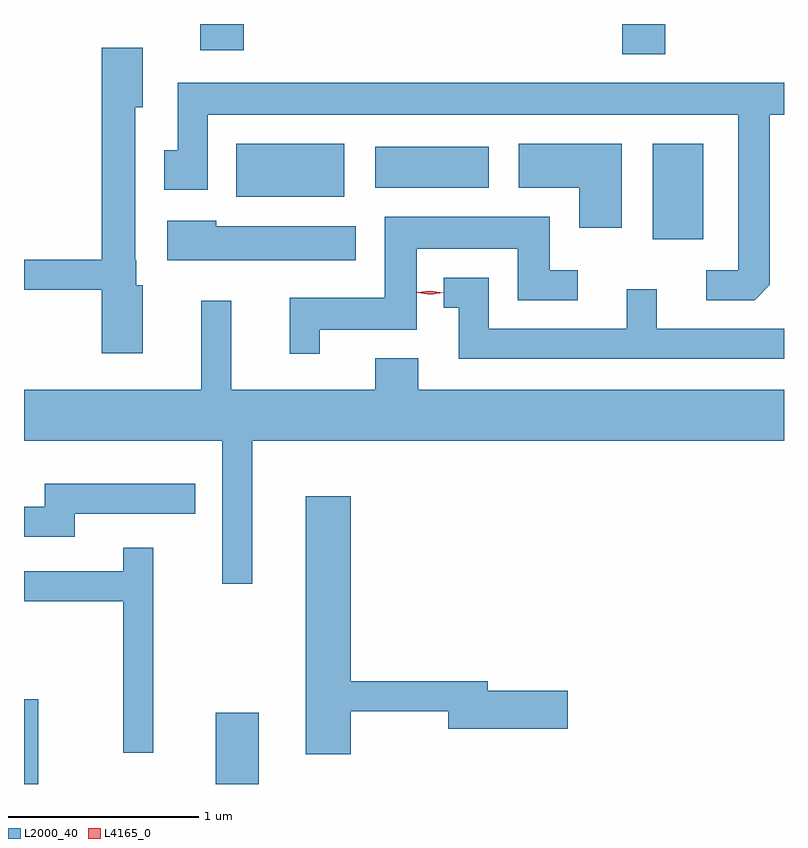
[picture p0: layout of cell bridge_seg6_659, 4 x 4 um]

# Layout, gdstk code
import gdstk
lib = gdstk.Library(unit=1e-6, precision=1e-09)
def R(c, l, rs):  # rectangles x0, y0, x1, y1
    for r in rs: c.add(gdstk.rectangle(r[:2], r[2:], *l))
def P(c, l, *ps):  # polygons
    for p in ps: c.add(gdstk.Polygon(p, *l))
L2000_40 = (2000, 40)
L4165_0 = (4165, 0)

bridge_seg6_659 = lib.new_cell('bridge_seg6_659')
R(bridge_seg6_659, L2000_40, [(305.533,1548.229,305.609,1548.674), (306.541,1548.229,306.769,1548.604), (308.841,1551.096,309.109,1551.599), (306.651,1551.321,307.219,1551.599), (307.381,1551.366,307.979,1551.584), (308.681,1552.071,308.909,1552.229), (306.461,1552.091,306.689,1552.229)])
P(bridge_seg6_659, L2000_40, [(306.159,1550.854),(306.124,1550.854),(306.124,1550.985),(306.119,1550.985),(306.119,1551.791),(306.159,1551.791),(306.159,1552.104),(305.941,1552.104),(305.941,1550.989),(305.533,1550.989),(305.533,1550.831),(305.941,1550.831),(305.941,1550.496),(306.159,1550.496)],
  [(309.459,1550.857),(309.459,1551.751),(309.533,1551.751),(309.533,1551.919),(306.341,1551.919),(306.341,1551.564),(306.271,1551.564),(306.271,1551.356),(306.499,1551.356),(306.499,1551.751),(309.291,1551.751),(309.291,1550.934),(309.123,1550.934),(309.123,1550.776),(309.379,1550.776)],
  [(308.679,1551.599),(308.136,1551.599),(308.136,1551.366),(308.456,1551.366),(308.456,1551.156),(308.679,1551.156)],
  [(307.089,1550.621),(307.599,1550.621),(307.599,1551.046),(308.131,1551.046),(308.131,1550.776),(308.448,1550.776),(308.448,1550.934),(308.299,1550.934),(308.299,1551.214),(307.431,1551.214),(307.431,1550.789),(306.931,1550.789),(306.931,1550.493),(307.089,1550.493)],
  [(307.279,1551.164),(306.544,1551.164),(306.544,1551.194),(306.286,1551.194),(306.286,1550.986),(307.279,1550.986)],
  [(309.533,1550.624),(308.864,1550.624),(308.864,1550.833),(308.706,1550.833),(308.706,1550.624),(307.979,1550.624),(307.979,1550.894),(307.743,1550.894),(307.743,1550.736),(307.821,1550.736),(307.821,1550.466),(309.533,1550.466)],
  [(306.734,1550.036),(309.533,1550.036),(309.533,1550.304),(307.609,1550.304),(307.609,1550.469),(307.381,1550.469),(307.381,1550.304),(306.624,1550.304),(306.624,1550.773),(306.466,1550.773),(306.466,1550.304),(305.533,1550.304),(305.533,1550.036),(306.576,1550.036),(306.576,1549.283),(306.734,1549.283)],
  [(305.799,1549.651),(306.433,1549.651),(306.433,1549.809),(305.641,1549.809),(305.641,1549.689),(305.533,1549.689),(305.533,1549.531),(305.799,1549.531)],
  [(307.254,1548.611),(307.766,1548.611),(307.766,1548.521),(308.394,1548.521),(308.394,1548.719),(307.974,1548.719),(307.974,1548.769),(307.254,1548.769),(307.254,1549.744),(307.016,1549.744),(307.016,1548.386),(307.254,1548.386)],
  [(306.214,1549.473),(306.056,1549.473),(306.056,1549.349),(305.533,1549.349),(305.533,1549.191),(306.056,1549.191),(306.056,1548.393),(306.214,1548.393)])
P(bridge_seg6_659, L4165_0, [(307.671,1550.805),(307.602,1550.815),(307.602,1550.816),(307.602,1550.816),(307.671,1550.825),(307.741,1550.815),(307.741,1550.815),(307.741,1550.814)])

lib.write_gds('bridge_seg6_659.gds')
